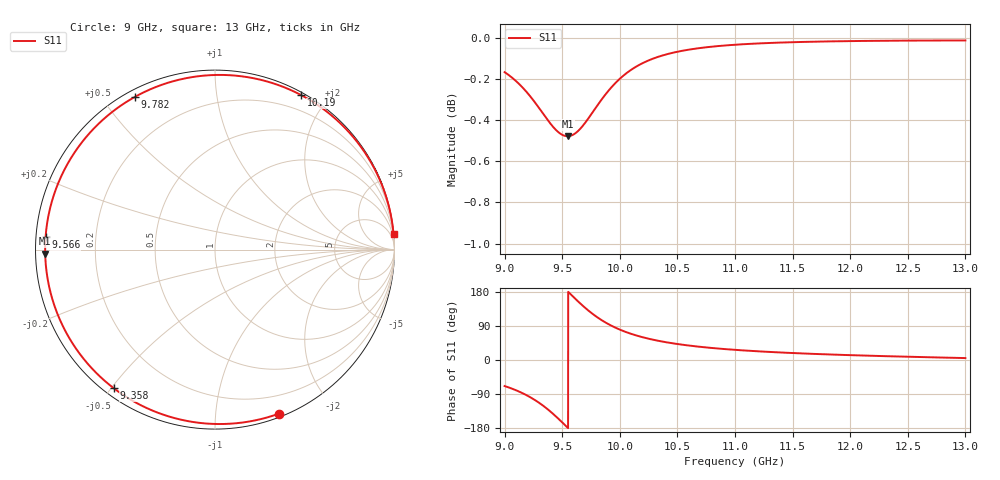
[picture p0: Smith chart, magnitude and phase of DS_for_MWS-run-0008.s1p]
! TOUCHSTONE file generated by CST DESIGN STUDIO
! Date and time: Tue Feb  4 14:05:42 2025
! Project name: C:\Work\MatlabApps\UnitCellOptimizationMatlab\CST\unitcell.cst
! Tree item: Tasks\Sweep1\SPara1\S-Parameters
! Header version: 2024
! Port assignment regex: !\s*Touchstone port\s*([0-9]+)\s*=\s*(CST MWS port|CST DES external port|CST DES block port)\s*(.+)\s* \(\"(.*)\"\)(\s*mode\s*([0-9]+))?.*
! Touchstone port assignment:
! Touchstone port 1 = CST DES external port 1 ("")
# GHz S MA R 50
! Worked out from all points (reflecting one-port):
!   4001 points, 9 GHz to 13 GHz, reference 50 ohm
!   lowest |S11| = -0.5 dB at 9.547 GHz (marker M1), VSWR 36.33, Z = 1.38 - j0.612 ohm
!   phase of S11 starts at -69 deg and turns -286 deg over the sweep
!   S11 on the Smith chart (normalised r, x): 9 GHz: 0.03, -1.46; 9.358 GHz: 0.03, -0.51; 9.566 GHz: 0.03, +0.04; 9.782 GHz: 0.03, +0.61; 10.19 GHz: 0.03, +1.71; 13 GHz: 0, +23
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9  0.981 -68.7
9.103  0.9759 -80.3
9.213  0.9685 -96.6
9.289  0.9623 -110.8
9.358  0.9564 -126.1
9.426  0.951 -143.5
9.465  0.9486 -154.4
9.5  0.9472 -164.6
9.547  0.9464 -178.6
9.566  0.9466 175.7
9.62  0.9482 159.7
9.681  0.9521 142.5
9.731  0.9562 129.5
9.782  0.9608 117.6
9.829  0.9649 107.7
9.879  0.9691 98.4
9.935  0.9732 89.3
10  0.9773 80.2
10.091  0.9819 69.8
10.19  0.9857 60.7
10.332  0.9894 50.8
10.5  0.9922 42.2
10.721  0.9945 34.0
11  0.9961 26.8
11.5  0.9976 18.4
12  0.9982 12.8
12.5  0.9984 8.6
13  0.9985 5.1
